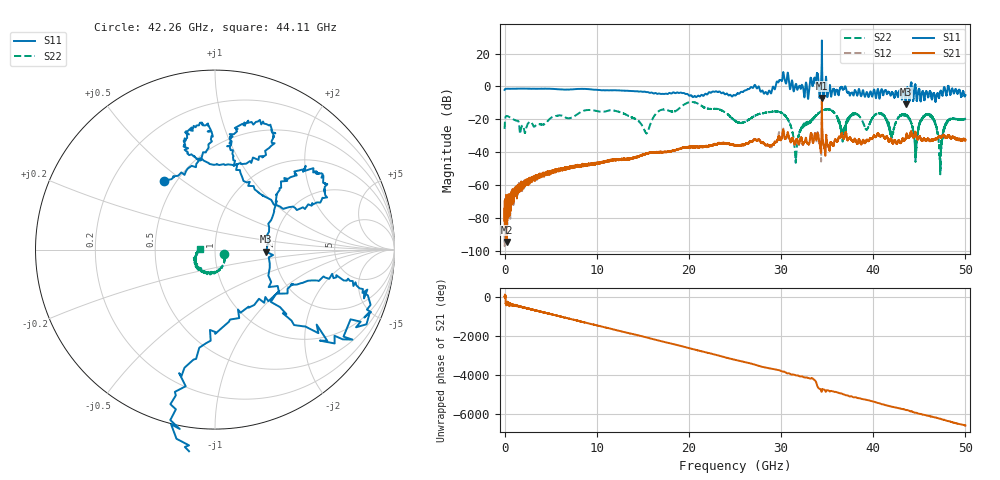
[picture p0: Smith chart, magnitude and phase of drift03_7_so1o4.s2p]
!Created with skrf (http://scikit-rf.org).
# Hz S RI R 50.0
!freq ReS11 ImS11 ReS21 ImS21 ReS12 ImS12 ReS22 ImS22
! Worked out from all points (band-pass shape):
!   10000 points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, 5.3 MHz to 50 GHz, reference 50 ohm
!   highest |S21| = -6.98 dB at 34.43 GHz (marker M1); lowest = -94.8 dB at 240.3 MHz (marker M2)
!   |S21| within 3 dB of the highest: 34.4273 GHz to 34.43457 GHz (7.275 MHz wide, 0.0211 % of centre)
!   lowest |S11| = -10.9 dB at 43.53 GHz (marker M3), VSWR 1.80, Z = 90 - j2.41 ohm
!   |S11| at or under -10 dB: 43.51032 GHz to 43.53399 GHz (23.68 MHz wide, 0.0544 % of centre); 43.53692 GHz to 43.54643 GHz (9.51 MHz wide, 0.0218 % of centre)
!   |S22| runs from -53.6 to -9.4 dB; largest |S21 - S12| = 0.14
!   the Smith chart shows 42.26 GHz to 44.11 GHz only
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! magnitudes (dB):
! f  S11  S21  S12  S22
! 5.3 MHz  -2.1  -70.0  -78.1  -25.8
! 240.3 MHz  -1.4  -94.8  -73.1  -18.0
! 2.57 GHz  -1.4  -59.5  -58.7  -22.3
! 8.34 GHz  -1.5  -48.9  -48.3  -15.4
! 15.39 GHz  -3.5  -40.8  -40.9  -28.6
! 16.67 GHz  -4.4  -40.3  -40.0  -15.3
! 20.45 GHz  -6.5  -36.6  -36.5  -9.5
! 25.01 GHz  -5.5  -35.8  -36.1  -21.0
! 29.97 GHz  3.9  -32.4  -32.2  -15.9
! 31.61 GHz  1.5  -33.3  -33.7  -45.2
! 33.34 GHz  2.5  -30.0  -30.6  -20.4
! 34.43 GHz  28.0  -7.0  -9.0  -14.6
! 36.7 GHz  -1.8  -30.2  -30.2  -29.8
! 37.95 GHz  -3.4  -32.4  -32.5  -16.6
! 41.67 GHz  -3.3  -33.5  -33.5  -23.3
! 43.53 GHz  -10.9  -31.2  -31.2  -17.3
! 44.6 GHz  -0.6  -28.9  -29.0  -42.5
! 45.27 GHz  -4.3  -33.2  -32.9  -19.7
! 46.23 GHz  -3.8  -32.9  -32.8  -17.6
! 47.29 GHz  -3.0  -30.6  -30.7  -50.0
! 48.1 GHz  -0.2  -30.8  -30.4  -20.6
! 50 GHz  -5.3  -32.4  -32.8  -19.7
